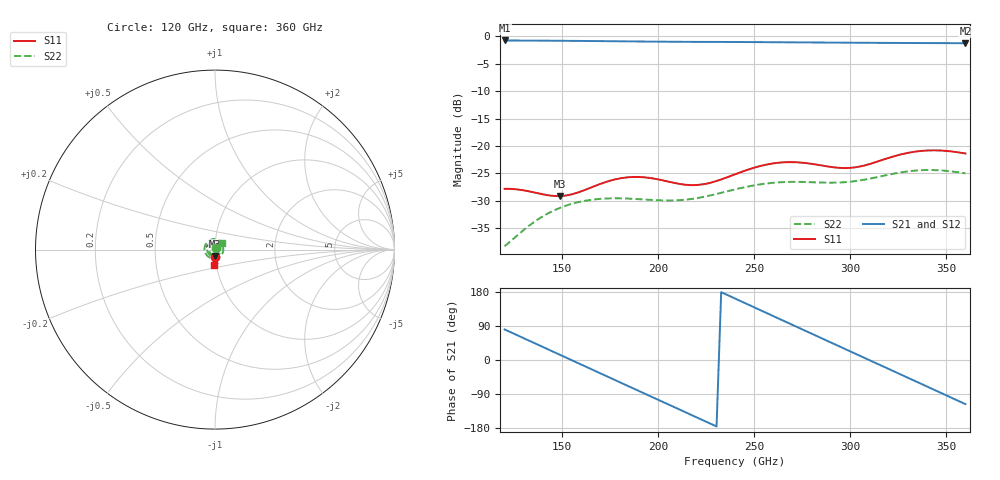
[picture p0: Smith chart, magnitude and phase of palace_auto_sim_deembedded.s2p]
! Created with skrf 1.11.0 (http://scikit-rf.org).
# GHz S DB R 50.0
!freq dBS11 angS11 dBS21 angS21 dBS12 angS12 dBS22 angS22
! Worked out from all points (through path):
!   101 points, 120 GHz to 360 GHz, reference 50 ohm
!   highest |S21| = -0.77 dB at 120 GHz (marker M1); lowest = -1.3 dB at 360 GHz (marker M2)
!   group delay of S21, straight-line fit = 6.45 ps
!   lowest |S11| = -29.1 dB at 148.8 GHz (marker M3), VSWR 1.07, Z = 49.7 - j3.47 ohm
!   |S11| at or under -10 dB: start of sweep to end of sweep
!   |S22| runs from -38.3 to -24.4 dB; largest |S21 - S12| = 1e-13
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120  -27.81 -92.2  -0.77 80.6  -0.77 80.6  -38.27 64.0
132  -28.22 -98.7  -0.79 52.8  -0.79 52.8  -34.73 0.3
148.8  -29.13 -93.4  -0.83 13.8  -0.83 13.8  -31.29 -69.7
160.8  -28.16 -85.5  -0.86 -14.1  -0.86 -14.1  -30.06 -117.2
170.4  -26.85 -85.1  -0.89 -36.4  -0.89 -36.4  -29.63 -156.1
182.4  -25.78 -90.7  -0.93 -64.3  -0.93 -64.3  -29.57 153.1
192  -25.69 -96.2  -0.96 -86.5  -0.96 -86.5  -29.74 109.8
201.6  -26.21 -99.1  -0.99 -108.7  -0.99 -108.7  -29.92 63.8
211.2  -26.93 -96.8  -1.01 -130.9  -1.01 -130.9  -29.88 15.5
223.2  -27.00 -87.7  -1.03 -158.7  -1.03 -158.7  -29.31 -46.0
240  -25.17 -79.6  -1.05 162.3  -1.05 162.3  -27.92 -127.9
249.6  -24.01 -80.8  -1.07 139.9  -1.07 139.9  -27.20 -171.6
261.6  -23.10 -86.1  -1.09 112.0  -1.09 112.0  -26.66 135.4
271.2  -22.96 -90.8  -1.12 89.7  -1.12 89.7  -26.55 93.1
280.8  -23.31 -93.7  -1.14 67.4  -1.14 67.4  -26.62 49.4
292.8  -23.95 -91.5  -1.16 39.6  -1.16 39.6  -26.68 -7.9
302.4  -23.91 -85.6  -1.18 17.3  -1.18 17.3  -26.42 -55.1
312  -23.09 -80.9  -1.20 -5.0  -1.20 -5.0  -25.83 -101.5
321.6  -22.01 -80.5  -1.22 -27.3  -1.22 -27.3  -25.13 -145.8
340.8  -20.82 -88.2  -1.25 -71.8  -1.25 -71.8  -24.38 130.0
350.4  -20.91 -92.4  -1.26 -94.1  -1.26 -94.1  -24.55 87.7
360  -21.38 -94.3  -1.27 -116.4  -1.27 -116.4  -24.99 43.1
